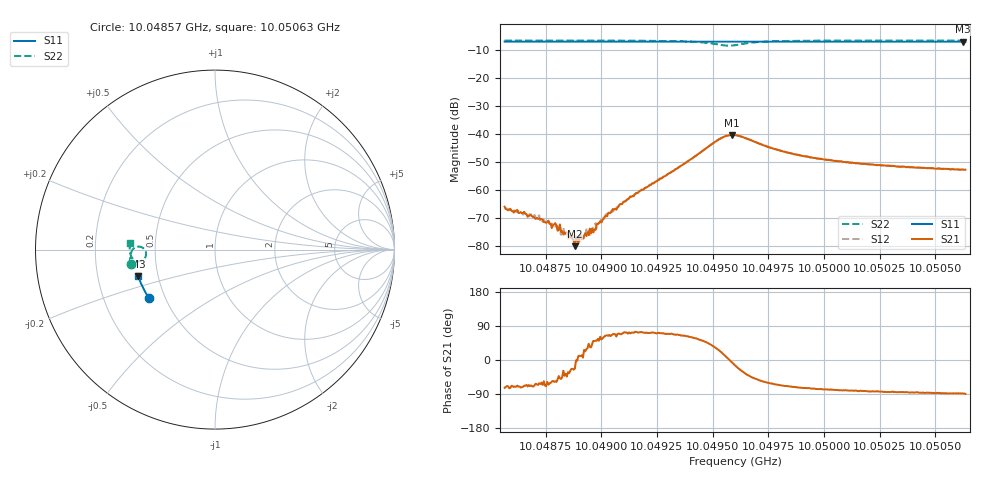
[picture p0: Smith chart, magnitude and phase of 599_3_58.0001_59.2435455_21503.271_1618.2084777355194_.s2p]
#  HZ  S  RI  R  50.00
! Rohde & Schwarz Vector Network Analyzer
! Rohde-Schwarz,ZNB20-2Port,1311601062101988,3.16
! Created: UTC 3/21/2024, 1:17:09 AM
! freq[Hz]  re:S11  im:S11  re:S21  im:S21  re:S12  im:S12  re:S22  im:S22
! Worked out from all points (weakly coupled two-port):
!   401 points, 10.04857 GHz to 10.05063 GHz, reference 50 ohm
!   highest |S21| = -40.35 dB at 10.04958 GHz (marker M1); lowest = -80.2 dB at 10.04888 GHz (marker M2)
!   lowest |S11| = -6.9 dB at 10.05062 GHz (marker M3), VSWR 2.65, Z = 19.3 - j7.19 ohm
!   |S11| at or under -10 dB: nowhere
!   |S22| runs from -8.3 to -6.4 dB; largest |S21 - S12| = 0.00071
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1.0048566e10  -0.3684 -0.2688  0.000142 -0.000476  0.000161 -0.000433  -0.47 -0.0809
1.0048711e10  -0.3736 -0.2607  0.000135 -0.000284  0.000139 -0.000292  -0.4711 -0.0702
1.0048804e10  -0.3769 -0.2556  0.000116 -0.000144  0.000143 -0.00017  -0.4719 -0.0628
1.0048814e10  -0.3773 -0.255  0.00016 -0.000178  0.000142 -0.000109  -0.4719 -0.062
1.0048856e10  -0.3787 -0.2528  0.000116 -8.11e-05  0.000156 -5.04e-05  -0.4721 -0.0586
1.0048871e10  -0.3793 -0.2518  0.000119 -5.08e-05  0.000135 -6.88e-05  -0.472 -0.0574
1.0048882e10  -0.3796 -0.2512  9.02e-05 -3.7e-05  0.000153 -4.82e-05  -0.4721 -0.0565
1.0048902e10  -0.3804 -0.25  0.000145 2.91e-05  0.000113 3.71e-05  -0.4721 -0.0549
1.0048913e10  -0.3808 -0.2495  0.000127 2.81e-05  0.000112 4.02e-05  -0.4722 -0.0541
1.0048964e10  -0.3826 -0.2467  0.000109 0.000132  0.000131 0.000188  -0.4722 -0.0496
1.004899e10  -0.3833 -0.245  0.000161 0.000199  0.000126 0.000216  -0.4723 -0.0472
1.0049021e10  -0.3844 -0.2434  0.000148 0.00031  0.000143 0.000335  -0.4722 -0.0444
1.004913e10  -0.388 -0.2371  0.000254 0.000714  0.000199 0.000718  -0.4714 -0.0337
1.0049259e10  -0.3923 -0.2297  0.000466 0.00142  0.000417 0.00153  -0.4683 -0.0184
1.0049523e10  -0.3998 -0.2139  0.00687 0.00369  0.00664 0.00414  -0.4042 0.0112
1.0049585e10  -0.401 -0.2107  0.00956 -0.000956  0.00961 -0.00028  -0.3845 -0.0328
1.00496e10  -0.4015 -0.2101  0.00924 -0.0024  0.00945 -0.00173  -0.3895 -0.0449
1.0049797e10  -0.4077 -0.1989  0.0021 -0.00468  0.00239 -0.00458  -0.4623 -0.0451
1.0049947e10  -0.4118 -0.1897  0.000963 -0.00366  0.00116 -0.00362  -0.4717 -0.0239
1.0050293e10  -0.4204 -0.1686  0.000242 -0.00267  0.000419 -0.00267  -0.4754 0.00945
1.0050624e10  -0.4274 -0.1482  6.02e-05 -0.00231  0.000194 -0.00227  -0.4746 0.0348
1.0050634e10  -0.4276 -0.1476  2.42e-05 -0.00229  0.000171 -0.00226  -0.4744 0.0355
